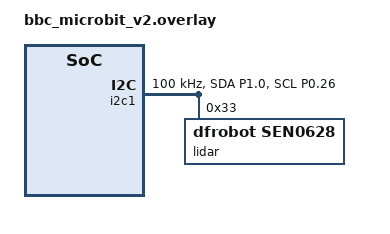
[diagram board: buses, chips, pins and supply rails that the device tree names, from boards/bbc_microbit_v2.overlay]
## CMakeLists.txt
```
# LIDAR Benchmark Application
#
# Measures real hardware performance of SEN0628 sensor
#
# Build from zephyr-app directory:
#   west build -b bbc_microbit_v2 apps/lidar_benchmark -p
#
# SPDX-License-Identifier: Apache-2.0

cmake_minimum_required(VERSION 3.20.0)

# Path to parent zephyr-app directory
set(ZEPHYR_APP_ROOT ${CMAKE_CURRENT_SOURCE_DIR}/../..)

# Add local DTS bindings
list(APPEND DTS_ROOT ${ZEPHYR_APP_ROOT})

# Add extra Kconfig directories
set(KCONFIG_ROOT ${ZEPHYR_APP_ROOT}/Kconfig)

find_package(Zephyr REQUIRED HINTS $ENV{ZEPHYR_BASE})

project(lidar_benchmark)

# Application sources
target_sources(app PRIVATE src/main.c)

# Include driver directory
target_include_directories(app PRIVATE
    ${ZEPHYR_APP_ROOT}/drivers/sen0628
)

# Add driver sources directly (until we have proper module setup)
target_sources(app PRIVATE
    ${ZEPHYR_APP_ROOT}/drivers/sen0628/sen0628.c
)
```

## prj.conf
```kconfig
# LIDAR Benchmark Application Configuration
#
# SPDX-License-Identifier: Apache-2.0

# Logging
CONFIG_LOG=y
CONFIG_LOG_DEFAULT_LEVEL=3
CONFIG_LOG_BUFFER_SIZE=2048
CONFIG_PRINTK=y

# I2C
CONFIG_I2C=y

# SEN0628 Driver
CONFIG_SEN0628=y
CONFIG_SEN0628_LOG_LEVEL=3
CONFIG_SEN0628_DEFAULT_MODE=8
CONFIG_SEN0628_READ_DELAY_MS=10

# Timing
CONFIG_SYS_CLOCK_TICKS_PER_SEC=1000

# Shell for interactive commands (optional)
# CONFIG_SHELL=y
# CONFIG_SHELL_BACKEND_SERIAL=y

# Debug
CONFIG_ASSERT=y
```

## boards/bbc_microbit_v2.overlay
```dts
/*
 * Device Tree Overlay for LIDAR Benchmark on micro:bit V2
 *
 * Enables SEN0628 ToF sensor on external I2C bus (P19/P20)
 *
 * SPDX-License-Identifier: Apache-2.0
 */

#include <zephyr/dt-bindings/i2c/i2c.h>

/* Pin control for external I2C on edge connector */
&pinctrl {
	i2c1_default: i2c1_default {
		group1 {
			psels = <NRF_PSEL(TWIM_SDA, 1, 0)>,   /* P20 = P1.0 */
				<NRF_PSEL(TWIM_SCL, 0, 26)>;  /* P19 = P0.26 */
		};
	};

	i2c1_sleep: i2c1_sleep {
		group1 {
			psels = <NRF_PSEL(TWIM_SDA, 1, 0)>,
				<NRF_PSEL(TWIM_SCL, 0, 26)>;
			low-power-enable;
		};
	};
};

/ {
	aliases {
		lidar = &lidar;
		i2c-ext = &i2c1;
	};
};

/* External I2C on edge connector (P19/P20) - for LIDAR */
&i2c1 {
	compatible = "nordic,nrf-twim";
	status = "okay";
	clock-frequency = <I2C_BITRATE_STANDARD>;  /* 100kHz */
	pinctrl-0 = <&i2c1_default>;
	pinctrl-1 = <&i2c1_sleep>;
	pinctrl-names = "default", "sleep";

	/* SEN0628 8x8 ToF LIDAR at 0x33 */
	lidar: sen0628@33 {
		compatible = "dfrobot,sen0628";
		reg = <0x33>;
		initial-mode = <8>;
	};
};
```

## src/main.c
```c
/*
 * SEN0628 LIDAR Benchmark Application
 *
 * Measures real hardware performance:
 *   1. I2C communication test
 *   2. Single point read timing
 *   3. Full 4x4 matrix read timing (16 points)
 *   4. Full 8x8 matrix read timing (64 points)
 *   5. Column statistics calculation time
 *   6. Bulk read test (CMD_ALLDATA)
 *
 * SPDX-License-Identifier: Apache-2.0
 */

#include <zephyr/kernel.h>
#include <zephyr/device.h>
#include <zephyr/drivers/i2c.h>
#include <zephyr/logging/log.h>
#include <string.h>

#include "sen0628.h"
#include "sen0628_proto.h"

LOG_MODULE_REGISTER(lidar_bench, LOG_LEVEL_INF);

/* Device handles */
#define I2C_EXT_NODE DT_NODELABEL(i2c1)
#define LIDAR_NODE   DT_NODELABEL(lidar)

static const struct device *i2c_ext = DEVICE_DT_GET(I2C_EXT_NODE);
static const struct device *lidar = DEVICE_DT_GET(LIDAR_NODE);

/* Test parameters */
#define NUM_ITERATIONS    5   /* Number of timing iterations */
#define WARMUP_READS      2   /* Warmup reads before timing */

/*
 * Benchmark results structure
 */
struct bench_result {
	const char *name;
	uint32_t min_ms;
	uint32_t max_ms;
	uint32_t avg_ms;
	int iterations;
	int success;
};

static struct bench_result results[10];
static int num_results = 0;

/*
 * Add benchmark result
 */
static void add_result(const char *name, uint32_t *times, int count, int success)
{
	if (num_results >= ARRAY_SIZE(results)) {
		return;
	}

	struct bench_result *r = &results[num_results++];
	r->name = name;
	r->iterations = count;
	r->success = success;

	if (count == 0 || !success) {
		r->min_ms = r->max_ms = r->avg_ms = 0;
		return;
	}

	uint32_t sum = 0;
	r->min_ms = UINT32_MAX;
	r->max_ms = 0;

	for (int i = 0; i < count; i++) {
		sum += times[i];
		if (times[i] < r->min_ms) r->min_ms = times[i];
		if (times[i] > r->max_ms) r->max_ms = times[i];
	}
	r->avg_ms = sum / count;
}

/*
 * Print all results
 */
static void print_results(void)
{
	printk("\n");
	printk("╔══════════════════════════════════════════════════════════════╗\n");
	printk("║              SEN0628 LIDAR BENCHMARK RESULTS                 ║\n");
	printk("╠══════════════════════════════════════════════════════════════╣\n");
	printk("║ Test                           │ Min   │ Avg   │ Max   │ OK  ║\n");
	printk("╠────────────────────────────────┼───────┼───────┼───────┼─────╣\n");

	for (int i = 0; i < num_results; i++) {
		struct bench_result *r = &results[i];
		printk("║ %-30s │ %5u │ %5u │ %5u │ %s ║\n",
		       r->name,
		       r->min_ms, r->avg_ms, r->max_ms,
		       r->success ? "YES" : "NO ");
	}

	printk("╚══════════════════════════════════════════════════════════════╝\n");
	printk("\n");

	/* Performance summary */
	printk("Performance Summary:\n");
	for (int i = 0; i < num_results; i++) {
		struct bench_result *r = &results[i];
		if (r->success && r->avg_ms > 0) {
			uint32_t hz = 1000 / r->avg_ms;
			printk("  %s: ~%u Hz refresh rate\n", r->name, hz);
		}
	}
}

/*
 * I2C bus scan for debugging
 */
static int bench_i2c_scan(void)
{
	uint8_t dummy = 0;
	int found = 0;

	LOG_INF("=== I2C Bus Scan ===");

	for (uint8_t addr = 0x08; addr < 0x78; addr++) {
		struct i2c_msg msg = {
			.buf = &dummy,
			.len = 0,
			.flags = I2C_MSG_WRITE | I2C_MSG_STOP,
		};
		int ret = i2c_transfer(i2c_ext, &msg, 1, addr);
		if (ret == 0) {
			LOG_INF("  Found device at 0x%02x", addr);
			found++;
		}
	}

	LOG_INF("  Total: %d devices", found);

	/* Check for LIDAR specifically */
	struct i2c_msg msg = {
		.buf = &dummy,
		.len = 0,
		.flags = I2C_MSG_WRITE | I2C_MSG_STOP,
	};
	int ret = i2c_transfer(i2c_ext, &msg, 1, 0x33);

	return (ret == 0) ? 0 : -ENODEV;
}

/*
 * Benchmark: Single point read
 */
static void bench_single_point(void)
{
	uint32_t times[NUM_ITERATIONS];
	uint16_t distance;
	int ret;
	int success = 1;

	LOG_INF("=== Benchmark: Single Point Read ===");

	/* Warmup */
	for (int i = 0; i < WARMUP_READS; i++) {
		sen0628_read_point(lidar, 4, 4, &distance);
	}

	/* Timed reads */
	for (int i = 0; i < NUM_ITERATIONS; i++) {
		uint32_t start = k_uptime_get_32();
		ret = sen0628_read_point(lidar, 4, 4, &distance);
		times[i] = k_uptime_get_32() - start;

		if (ret < 0) {
			LOG_ERR("  Read %d failed: %d", i, ret);
			success = 0;
		} else {
			LOG_INF("  Read %d: %u mm in %u ms", i, distance, times[i]);
		}
	}

	add_result("Single point read", times, NUM_ITERATIONS, success);
}

/*
 * Benchmark: Full 4x4 matrix read
 */
static void bench_4x4_matrix(void)
{
	uint32_t times[NUM_ITERATIONS];
	struct sen0628_scan scan;
	int ret;
	int success = 1;

	LOG_INF("=== Benchmark: 4x4 Matrix Read ===");

	/* Set 4x4 mode */
	ret = sen0628_set_mode(lidar, SEN0628_MODE_4X4);
	if (ret < 0) {
		LOG_ERR("Failed to set 4x4 mode: %d", ret);
		add_result("4x4 matrix read", times, 0, 0);
		return;
	}

	/* Warmup */
	sen0628_read_scan(lidar, &scan);

	/* Timed reads */
	for (int i = 0; i < NUM_ITERATIONS; i++) {
		uint32_t start = k_uptime_get_32();
		ret = sen0628_read_scan(lidar, &scan);
		times[i] = k_uptime_get_32() - start;

		if (ret < 0) {
			LOG_ERR("  Scan %d failed: %d", i, ret);
			success = 0;
		} else {
			LOG_INF("  Scan %d: %d valid, min=%u mm, %u ms",
				i, scan.valid_count, scan.min_distance, times[i]);
		}
	}

	add_result("4x4 matrix (16 pts)", times, NUM_ITERATIONS, success);

	/* Print last scan */
	sen0628_print_scan(&scan);
}

/*
 * Benchmark: Full 8x8 matrix read
 */
static void bench_8x8_matrix(void)
{
	uint32_t times[NUM_ITERATIONS];
	struct sen0628_scan scan;
	int ret;
	int success = 1;

	LOG_INF("=== Benchmark: 8x8 Matrix Read ===");

	/* Set 8x8 mode */
	ret = sen0628_set_mode(lidar, SEN0628_MODE_8X8);
	if (ret < 0) {
		LOG_ERR("Failed to set 8x8 mode: %d", ret);
		add_result("8x8 matrix read", times, 0, 0);
		return;
	}

	/* Warmup */
	sen0628_read_scan(lidar, &scan);

	/* Timed reads */
	for (int i = 0; i < NUM_ITERATIONS; i++) {
		uint32_t start = k_uptime_get_32();
		ret = sen0628_read_scan(lidar, &scan);
		times[i] = k_uptime_get_32() - start;

		if (ret < 0) {
			LOG_ERR("  Scan %d failed: %d", i, ret);
			success = 0;
		} else {
			LOG_INF("  Scan %d: %d valid, min=%u mm, %u ms",
				i, scan.valid_count, scan.min_distance, times[i]);
		}
	}

	add_result("8x8 matrix (64 pts)", times, NUM_ITERATIONS, success);

	/* Print last scan */
	sen0628_print_scan(&scan);
}

/*
 * Benchmark: Column statistics calculation
 */
static void bench_column_stats(void)
{
	uint32_t times[NUM_ITERATIONS];
	struct sen0628_columns cols;
	int ret;
	int success = 1;

	LOG_INF("=== Benchmark: Column Statistics ===");

	/* Ensure we have fresh scan data */
	struct sen0628_scan scan;
	sen0628_read_scan(lidar, &scan);

	/* Timed calculations */
	for (int i = 0; i < NUM_ITERATIONS; i++) {
		uint32_t start = k_uptime_get_32();
		ret = sen0628_get_columns(lidar, &cols);
		times[i] = k_uptime_get_32() - start;

		if (ret < 0) {
			LOG_ERR("  Calc %d failed: %d", i, ret);
			success = 0;
		} else {
			LOG_INF("  Calc %d: %u ms", i, times[i]);
		}
	}

	add_result("Column stats calc", times, NUM_ITERATIONS, success);

	/* Print column data */
	int mode = sen0628_get_mode(lidar);
	sen0628_print_columns(&cols, mode);
}

/*
 * Benchmark: Combined scan + column (typical navigation use)
 */
static void bench_navigation_cycle(void)
{
	uint32_t times[NUM_ITERATIONS];
	struct sen0628_scan scan;
	struct sen0628_columns cols;
	int ret;
	int success = 1;

	LOG_INF("=== Benchmark: Navigation Cycle (scan + columns) ===");

	/* Timed full cycle */
	for (int i = 0; i < NUM_ITERATIONS; i++) {
		uint32_t start = k_uptime_get_32();

		ret = sen0628_read_scan(lidar, &scan);
		if (ret == 0) {
			ret = sen0628_get_columns(lidar, &cols);
		}

		times[i] = k_uptime_get_32() - start;

		if (ret < 0) {
			LOG_ERR("  Cycle %d failed: %d", i, ret);
			success = 0;
		} else {
			LOG_INF("  Cycle %d: min=%u mm, %u ms",
				i, scan.min_distance, times[i]);
		}
	}

	add_result("Navigation cycle", times, NUM_ITERATIONS, success);
}

/*
 * Test: Bulk read (CMD_ALLDATA) - experimental
 *
 * Note: This has been unreliable in MicroPython. Testing here to see
 * if Zephyr's I2C driver handles it better.
 */
static void bench_bulk_read(void)
{
	/* Direct I2C test of CMD_ALLDATA */
	const struct i2c_dt_spec i2c_spec = I2C_DT_SPEC_GET(LIDAR_NODE);
	uint8_t cmd_pkt[4] = {
		SEN0628_PACKET_HEAD,
		0x00,                   /* ArgsNumH */
		0x00,                   /* ArgsNumL */
		SEN0628_CMD_ALLDATA     /* Command */
	};
	uint8_t resp[256];
	int ret;

	LOG_INF("=== Test: Bulk Read (CMD_ALLDATA) ===");

	/* Send command */
	ret = i2c_write_dt(&i2c_spec, cmd_pkt, sizeof(cmd_pkt));
	if (ret < 0) {
		LOG_ERR("Failed to send CMD_ALLDATA: %d", ret);
		add_result("Bulk read (ALLDATA)", NULL, 0, 0);
		return;
	}

	/* Wait longer for bulk response */
	k_sleep(K_MSEC(500));

	/* Try to read response */
	ret = i2c_read_dt(&i2c_spec, resp, 4);  /* Just header first */
	if (ret < 0) {
		LOG_ERR("Failed to read bulk response: %d", ret);
		add_result("Bulk read (ALLDATA)", NULL, 0, 0);
		return;
	}

	LOG_INF("Bulk response header: %02x %02x %02x %02x",
		resp[0], resp[1], resp[2], resp[3]);

	uint8_t status = resp[0];
	uint16_t data_len = resp[2] | (resp[3] << 8);

	if (status == SEN0628_STATUS_SUCCESS) {
		LOG_INF("Bulk read SUCCESS! Data length: %u bytes", data_len);

		/* Read remaining data */
		if (data_len > 0 && data_len <= sizeof(resp) - 4) {
			k_sleep(K_MSEC(50));
			ret = i2c_read_dt(&i2c_spec, &resp[4], data_len);
			if (ret == 0) {
				LOG_INF("Read %u bytes of bulk data", data_len);

				/* Interpret as distances (little-endian 16-bit) */
				int num_points = data_len / 2;
				LOG_INF("Contains %d distance values", num_points);

				/* Print first few */
				for (int i = 0; i < MIN(8, num_points); i++) {
					uint16_t d = resp[4 + i*2] | (resp[4 + i*2 + 1] << 8);
					LOG_INF("  Point %d: %u mm", i, d);
				}

				uint32_t times[1] = {0};  /* Would measure here */
				add_result("Bulk read (ALLDATA)", times, 1, 1);
				return;
			}
		}
	} else {
		LOG_WRN("Bulk read returned status 0x%02x (expected 0x53)", status);
	}

	add_result("Bulk read (ALLDATA)", NULL, 0, 0);
}

/*
 * Test: Read delay sensitivity
 *
 * Tests different delays between command and response to find
 * the minimum reliable delay.
 */
static void bench_read_delay(void)
{
	const struct i2c_dt_spec i2c_spec = I2C_DT_SPEC_GET(LIDAR_NODE);
	uint8_t cmd_pkt[6] = {
		SEN0628_PACKET_HEAD,
		0x00,
		0x02,                   /* 2 args */
		SEN0628_CMD_FIXED_POINT,
		4,                      /* x = 4 */
		4                       /* y = 4 */
	};
	uint8_t resp[8];
	int delays[] = {10, 15, 20, 25, 30, 40, 50};
	int ret;

	LOG_INF("=== Test: Read Delay Sensitivity ===");

	for (int d = 0; d < ARRAY_SIZE(delays); d++) {
		int delay_ms = delays[d];
		int success_count = 0;

		for (int trial = 0; trial < 5; trial++) {
			/* Send command */
			ret = i2c_write_dt(&i2c_spec, cmd_pkt, sizeof(cmd_pkt));
			if (ret < 0) continue;

			/* Variable delay */
			k_sleep(K_MSEC(delay_ms));

			/* Read response */
			ret = i2c_read_dt(&i2c_spec, resp, sizeof(resp));
			if (ret < 0) continue;

			if (resp[0] == SEN0628_STATUS_SUCCESS) {
				success_count++;
			}
		}

		LOG_INF("  Delay %2d ms: %d/5 success", delay_ms, success_count);
	}
}

/*
 * Main entry point
 */
int main(void)
{
	int ret;

	printk("\n");
	printk("╔══════════════════════════════════════════════════════════════╗\n");
	printk("║           SEN0628 LIDAR BENCHMARK APPLICATION                ║\n");
	printk("║                                                              ║\n");
	printk("║  Measures real hardware performance for SLAM planning        ║\n");
	printk("╚══════════════════════════════════════════════════════════════╝\n");
	printk("\n");

	/* Check I2C bus */
	if (!device_is_ready(i2c_ext)) {
		LOG_ERR("External I2C (i2c1) not ready!");
		return -1;
	}
	LOG_INF("I2C bus ready");

	/* Scan I2C bus */
	ret = bench_i2c_scan();
	if (ret < 0) {
		LOG_ERR("LIDAR not found at 0x33! Check connections.");
		return -1;
	}

	/* Check LIDAR device */
	if (!device_is_ready(lidar)) {
		LOG_ERR("LIDAR device not ready!");
		return -1;
	}

	/* Initialize sensor */
	ret = sen0628_init(lidar);
	if (ret < 0) {
		LOG_ERR("Failed to initialize LIDAR: %d", ret);
		return -1;
	}

	LOG_INF("Starting benchmarks...\n");
	k_sleep(K_SECONDS(1));

	/* Run all benchmarks */
	bench_single_point();
	k_sleep(K_MSEC(500));

	bench_4x4_matrix();
	k_sleep(K_MSEC(500));

	bench_8x8_matrix();
	k_sleep(K_MSEC(500));

	bench_column_stats();
	k_sleep(K_MSEC(500));

	bench_navigation_cycle();
	k_sleep(K_MSEC(500));

	bench_bulk_read();
	k_sleep(K_MSEC(500));

	bench_read_delay();
	k_sleep(K_MSEC(500));

	/* Print summary */
	print_results();

	/* Expected vs measured analysis */
	printk("Expected Timing Analysis:\n");
	printk("  - Single point: ~30ms (CONFIG_SEN0628_READ_DELAY_MS)\n");
	printk("  - 4x4 matrix:   ~480ms (16 * 30ms)\n");
	printk("  - 8x8 matrix:   ~1920ms (64 * 30ms)\n");
	printk("  - If bulk read works: ~100-200ms for full matrix\n");
	printk("\n");

	/* SLAM implications */
	printk("SLAM Implications:\n");
	int mode = sen0628_get_mode(lidar);
	printk("  - Current mode: %dx%d\n", mode, mode);
	printk("  - For SLAM, need ~5-10 Hz update rate\n");
	printk("  - Point-by-point: 8x8 too slow (~0.5 Hz)\n");
	printk("  - Options if bulk fails:\n");
	printk("    1. Use 4x4 mode (~2 Hz)\n");
	printk("    2. Read only center rows (faster scan)\n");
	printk("    3. Reduce I2C delays (needs testing)\n");
	printk("\n");

	LOG_INF("Benchmark complete. Entering idle loop.");

	while (1) {
		k_sleep(K_SECONDS(10));
	}

	return 0;
}
```
